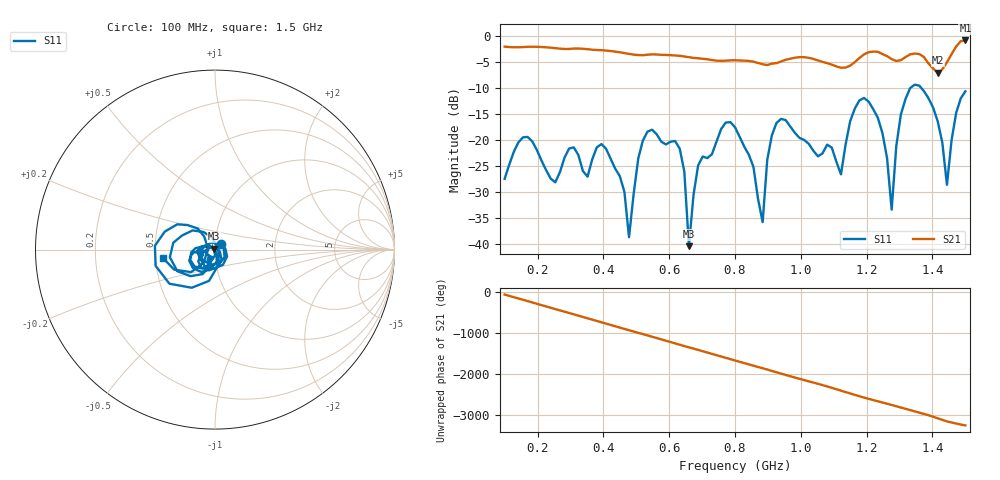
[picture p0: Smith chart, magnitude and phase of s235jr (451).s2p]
! NanoVNA-App
! Date: 2025-09-25 15:07:40
! Start: 100MHz Stop: 1,5GHz Points: 101
! S-Parameter data: F S11 S21 S12 S22
# Hz S RI R 50
!  Frequency  S11_Real  S11_Imag  S21_Real  S21_Imag  S12_Real  S12_Imag  S22_Real  S22_Imag
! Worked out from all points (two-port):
!   101 points, 100 MHz to 1.5 GHz, reference 50 ohm
!   highest |S21| = -0.77 dB at 1.5 GHz (marker M1); lowest = -7.0 dB at 1.416 GHz (marker M2)
!   |S21| within 3 dB of the highest: start of sweep to 635.7 MHz; 1.186 GHz to 1.261 GHz (75.49 MHz wide, 6.17 % of centre) (the widest 2 of 4)
!   lowest |S11| = -40.5 dB at 660 MHz (marker M3), VSWR 1.02, Z = 49.2 + j0.54 ohm
!   |S11| at or under -10 dB: start of sweep to 1.332 GHz; 1.367 GHz to end of sweep
!   S12 and S22 are empty: the file has one direction only
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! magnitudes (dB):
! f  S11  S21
! 100 MHz  -27.5  -2.0
! 156 MHz  -19.5  -2.0
! 338 MHz  -26.0  -2.4
! 408 MHz  -21.6  -2.7
! 478 MHz  -38.7  -3.4
! 520 MHz  -20.1  -3.6
! 576 MHz  -20.3  -3.5
! 632 MHz  -21.6  -3.7
! 660 MHz  -40.5  -4.0
! 688 MHz  -24.9  -4.2
! 800 MHz  -17.5  -4.6
! 884 MHz  -35.8  -5.4
! 926 MHz  -16.7  -5.1
! 1.038 GHz  -22.0  -4.3
! 1.122 GHz  -26.6  -6.0
! 1.192 GHz  -11.9  -3.5
! 1.248 GHz  -18.6  -3.4
! 1.276 GHz  -33.4  -4.4
! 1.332 GHz  -10.0  -3.5
! 1.416 GHz  -16.4  -7.0
! 1.444 GHz  -28.6  -5.0
! 1.5 GHz  -10.6  -0.8
